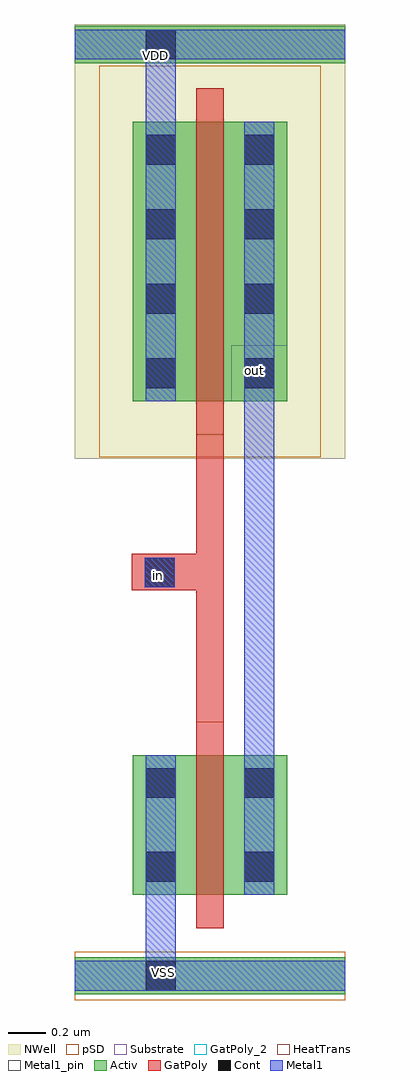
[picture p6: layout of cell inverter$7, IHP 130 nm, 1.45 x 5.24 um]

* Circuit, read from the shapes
.subckt inverter$7 VDD VSS in out
XM1 out in VSS VSS sg13_lv_nmos w=0.75u l=0.15u
XM2 out in VDD VDD sg13_lv_pmos w=1.5u l=0.15u
.ends

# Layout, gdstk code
import gdstk
lib = gdstk.Library(unit=1e-6, precision=5e-09)
def R(c, l, rs):  # rectangles x0, y0, x1, y1
    for r in rs: c.add(gdstk.rectangle(r[:2], r[2:], *l))
def A(c, l, x, y, w, h, nx, ny, dx, dy):  # array of equal rectangles
    R(c, l, [(x+i*dx, y+j*dy, x+i*dx+w, y+j*dy+h) for i in range(nx) for j in range(ny)])
Activ = (1, 0)
GatPoly = (5, 0)
GatPoly_2 = (5, 2)
Cont = (6, 0)
Metal1 = (8, 0)
Metal1_pin = (8, 2)
pSD = (14, 0)
NWell = (31, 0)
Substrate = (40, 0)
HeatTrans = (51, 0)

nmos_9 = lib.new_cell('nmos$9')
R(nmos_9, Activ, [(0,0,0.3,0.3), (0,0,0.83,0.75), (0.53,0,0.83,0.3)])
R(nmos_9, GatPoly, [(0.34,-0.18,0.49,0.93)])
R(nmos_9, GatPoly_2, [(0.34,-0.18,0.49,0.93)])
R(nmos_9, Cont, [(0.07,0.07,0.23,0.23), (0.6,0.07,0.76,0.23), (0.07,0.52,0.23,0.68), (0.6,0.52,0.76,0.68)])
R(nmos_9, Metal1, [(0.07,0,0.23,0.75), (0.6,0,0.76,0.75)])
R(nmos_9, Metal1_pin, [(0.07,0,0.23,0.75), (0.6,0,0.76,0.75)])
R(nmos_9, HeatTrans, [(0.34,-0.18,0.49,0.93)])
nmos_9.add(gdstk.Label('nmos', (0.415,0.375), layer=63, texttype=0))
nmos_9.add(gdstk.Label('nmos', (0.415,0.375), layer=51, texttype=0))

pmos_1_17 = lib.new_cell('pmos$1$17')
R(pmos_1_17, Activ, [(0,0,0.3,0.3), (0,0,0.83,1.5), (0.53,0,0.83,0.3)])
R(pmos_1_17, GatPoly, [(0.34,-0.18,0.49,1.68), (0.34,-0.18,0.49,1.68)])
A(pmos_1_17, Cont, 0.07, 0.07, 0.16, 0.16, 1, 4, 0, 0.4)
A(pmos_1_17, Cont, 0.6, 0.07, 0.16, 0.16, 1, 4, 0, 0.4)
R(pmos_1_17, Metal1, [(0.07,0,0.23,1.5), (0.07,0,0.23,1.5), (0.6,0,0.76,1.5), (0.6,0,0.76,1.5)])
R(pmos_1_17, pSD, [(-0.18,-0.3,1.01,1.8)])
R(pmos_1_17, NWell, [(-0.31,-0.31,1.14,1.81)])
R(pmos_1_17, Substrate, [(0.53,0,0.83,0.3)])
R(pmos_1_17, HeatTrans, [(0.34,-0.18,0.49,1.68)])
pmos_1_17.add(gdstk.Label('pmos', (0.415,0.75), layer=63, texttype=0))
pmos_1_17.add(gdstk.Label('pmos', (0.415,0.75), layer=51, texttype=0))

inverter_7 = lib.new_cell('inverter$7')
R(inverter_7, Activ, [(-0.46,-0.1,0.99,0.1), (-0.46,4.9,0.99,5.1)])
R(inverter_7, GatPoly, [(0.19,1.365,0.34,2.965), (-0.155,2.07,0.145,2.265), (0.145,2.07,0.19,2.265)])
R(inverter_7, Cont, [(-0.08,-0.08,0.08,0.08), (-0.085,2.085,0.075,2.245), (-0.08,4.92,0.08,5.08)])
R(inverter_7, Metal1, [(-0.46,-0.08,0.99,0.08), (-0.08,-0.08,0.08,0.08), (-0.08,0.08,0.08,0.435), (0.45,0.96,0.61,3.37), (-0.085,2.085,0.075,2.245), (-0.08,4.585,0.08,4.92), (-0.46,4.92,-0.08,5.08), (-0.08,4.92,0.08,5.08), (0.08,4.92,0.99,5.08)])
R(inverter_7, Metal1_pin, [(-0.46,-0.08,0.99,0.08), (-0.08,-0.08,0.08,0.08), (-0.085,2.085,0.075,2.245), (0.45,3.155,0.61,3.315), (-0.46,4.92,0.99,5.08), (-0.08,4.92,0.08,5.08)])
R(inverter_7, pSD, [(-0.46,-0.13,0.99,0.13)])
R(inverter_7, NWell, [(-0.46,4.895,0.99,5.11)])
inverter_7.add(gdstk.Reference(nmos_9, (-0.15,0.435)))
inverter_7.add(gdstk.Reference(pmos_1_17, (-0.15,3.085)))
inverter_7.add(gdstk.Label('out', (0.505,3.25), layer=8, texttype=2))
inverter_7.add(gdstk.Label('VSS', (0.015,0.015), layer=8, texttype=2))
inverter_7.add(gdstk.Label('VDD', (-0.025,4.94), layer=8, texttype=2))
inverter_7.add(gdstk.Label('in', (-0.01,2.15), layer=8, texttype=2))

lib.write_gds('inverter_7.gds')
